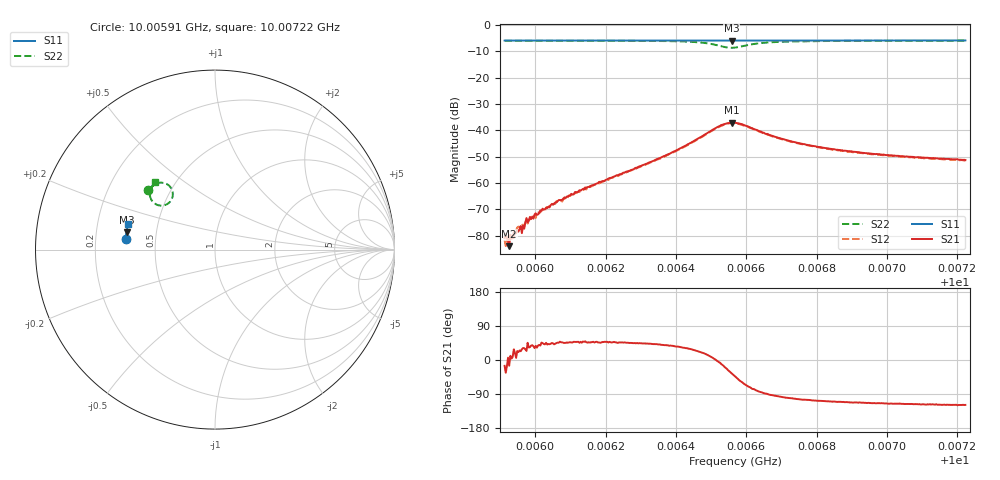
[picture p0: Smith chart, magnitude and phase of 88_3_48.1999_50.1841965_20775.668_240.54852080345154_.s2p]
#  HZ  S  RI  R  50.00
! Rohde & Schwarz Vector Network Analyzer
! Rohde-Schwarz,ZNB20-2Port,1311601062101988,3.16
! Created: UTC 3/20/2024, 11:39:59 AM
! freq[Hz]  re:S11  im:S11  re:S21  im:S21  re:S12  im:S12  re:S22  im:S22
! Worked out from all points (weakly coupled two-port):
!   401 points, 10.00591 GHz to 10.00722 GHz, reference 50 ohm
!   highest |S21| = -37.12 dB at 10.00656 GHz (marker M1); lowest = -83.9 dB at 10.00593 GHz (marker M2)
!   lowest |S11| = -6.0 dB at 10.00656 GHz (marker M3), VSWR 3.01, Z = 16.8 + j4.38 ohm
!   |S11| at or under -10 dB: nowhere
!   |S22| runs from -8.7 to -6.0 dB; largest |S21 - S12| = 0.00092
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1.0005913e10  -0.4982 0.0569  8.74e-05 -2.4e-05  7.63e-05 -3.39e-05  -0.3711 0.3325
1.0005926e10  -0.498 0.0578  6.15e-05 -1.67e-05  9.63e-05 -7.84e-06  -0.3703 0.3333
1.0005932e10  -0.4981 0.0582  8.87e-05 5.93e-06  9.32e-05 3.64e-05  -0.37 0.3339
1.0005949e10  -0.4981 0.0592  0.000118 5.21e-05  0.000133 5.37e-05  -0.369 0.3347
1.0005962e10  -0.4979 0.06  9.88e-05 5.35e-05  0.000158 5.66e-05  -0.3683 0.3357
1.0005978e10  -0.4978 0.0613  0.000127 0.000128  0.00013 0.000111  -0.3673 0.3369
1.0006018e10  -0.4977 0.0639  0.000211 0.000217  0.000222 0.000203  -0.3648 0.3393
1.0006057e10  -0.4972 0.0663  0.000313 0.000294  0.000285 0.00029  -0.3621 0.3422
1.0006132e10  -0.4969 0.0711  0.000524 0.000535  0.000455 0.000577  -0.3566 0.3475
1.0006352e10  -0.4947 0.0855  0.0022 0.00193  0.00206 0.00197  -0.328 0.3674
1.0006417e10  -0.494 0.0897  0.00397 0.00259  0.00373 0.0027  -0.3073 0.3728
1.0006483e10  -0.4929 0.0941  0.00801 0.00237  0.00772 0.00265  -0.2665 0.3641
1.0006529e10  -0.492 0.0965  0.0124 -0.00228  0.012 -0.0016  -0.2352 0.314
1.0006558e10  -0.4915 0.0979  0.0114 -0.00798  0.0114 -0.00737  -0.2545 0.2624
1.0006568e10  -0.4916 0.0983  0.0101 -0.00961  0.0103 -0.00874  -0.2704 0.2514
1.0006588e10  -0.4917 0.0994  0.00687 -0.0111  0.00721 -0.0105  -0.3043 0.245
1.000664e10  -0.4917 0.1027  0.000909 -0.00945  0.00143 -0.00914  -0.3536 0.2759
1.0006709e10  -0.4911 0.1073  -0.00105 -0.00658  -0.000672 -0.00651  -0.3629 0.3107
1.0006787e10  -0.4903 0.1125  -0.00146 -0.00487  -0.00117 -0.00488  -0.3592 0.3315
1.0006882e10  -0.4891 0.1187  -0.00148 -0.00381  -0.00126 -0.00378  -0.3528 0.3462
1.0007007e10  -0.4875 0.1264  -0.00144 -0.00303  -0.00126 -0.00304  -0.3447 0.3586
1.0007223e10  -0.4841 0.1399  -0.0013 -0.0024  -0.00119 -0.00242  -0.3322 0.3739
